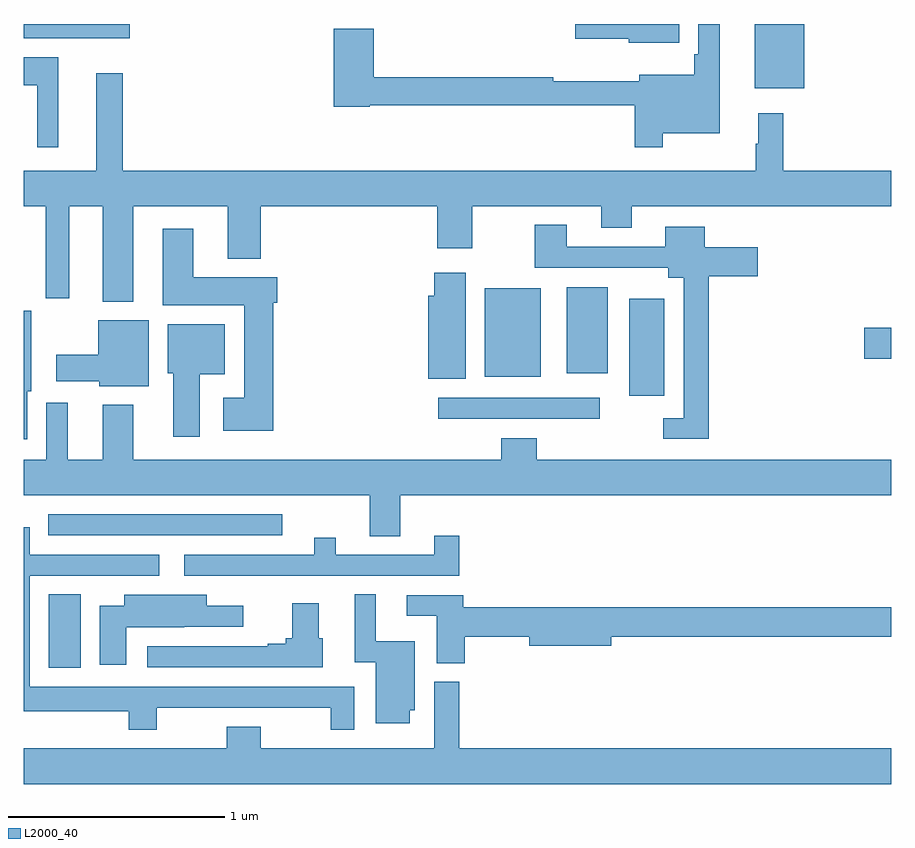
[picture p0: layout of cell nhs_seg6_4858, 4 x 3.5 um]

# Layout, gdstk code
import gdstk
lib = gdstk.Library(unit=1e-6, precision=1e-09)
def R(c, l, rs):  # rectangles x0, y0, x1, y1
    for r in rs: c.add(gdstk.rectangle(r[:2], r[2:], *l))
def P(c, l, *ps):  # polygons
    for p in ps: c.add(gdstk.Polygon(p, *l))
L2000_40 = (2000, 40)

nhs_seg6_4858 = lib.new_cell('nhs_seg6_4858')
R(nhs_seg6_4858, L2000_40, [(399.116,954.531,399.262,954.872), (399.113,955.143,400.192,955.239), (400.911,955.68,401.656,955.776), (401.792,955.785,401.953,956.233), (401.126,955.874,401.383,956.281), (401.504,955.889,401.692,956.287), (402.876,955.957,403,956.099), (402.371,957.203,402.598,957.5)])
P(nhs_seg6_4858, L2000_40, [(399.49,957.5),(399,957.5),(399,957.435),(399.249,957.435),(399.249,957.434),(399.49,957.434)],
  [(402.022,957.5),(401.544,957.5),(401.544,957.431),(401.79,957.431),(401.79,957.413),(402.022,957.413)],
  [(401.947,956.996),(402.208,956.996),(402.208,957.5),(402.111,957.5),(402.111,957.361),(402.091,957.361),(402.091,957.265),(401.837,957.265),(401.837,957.236),(401.441,957.236),(401.441,957.254),(400.613,957.254),(400.613,957.478),(400.43,957.478),(400.43,957.118),(400.596,957.118),(400.596,957.126),(401.818,957.126),(401.818,956.931),(401.947,956.931)],
  [(399.16,957.346),(399,957.346),(399,957.218),(399.062,957.218),(399.062,956.931),(399.16,956.931)],
  [(399.457,957.274),(399.335,957.274),(399.335,956.824),(399,956.824),(399,956.66),(399.101,956.66),(399.101,956.235),(399.211,956.235),(399.211,956.66),(399.365,956.66),(399.365,956.219),(399.505,956.219),(399.505,956.66),(399.941,956.66),(399.941,956.417),(400.094,956.417),(400.094,956.66),(400.907,956.66),(400.907,956.466),(401.067,956.466),(401.067,956.66),(401.663,956.66),(401.663,956.561),(401.803,956.561),(401.803,956.66),(403,956.66),(403,956.824),(402.503,956.824),(402.503,957.088),(402.386,957.088),(402.386,956.948),(402.375,956.948),(402.375,956.824),(399.457,956.824)],
  [(402.158,956.336),(402.385,956.336),(402.385,956.47),(402.139,956.47),(402.139,956.566),(401.957,956.566),(401.957,956.472),(401.503,956.472),(401.503,956.575),(401.356,956.575),(401.356,956.376),(401.972,956.376),(401.972,956.33),(402.042,956.33),(402.042,955.683),(401.949,955.683),(401.949,955.587),(402.158,955.587)],
  [(400.151,956.214),(400.169,956.214),(400.169,956.332),(399.781,956.332),(399.781,956.557),(399.641,956.557),(399.641,956.204),(400.016,956.204),(400.016,955.777),(399.921,955.777),(399.921,955.625),(400.151,955.625)],
  [(401.038,956.353),(400.892,956.353),(400.892,956.248),(400.865,956.248),(400.865,955.865),(401.038,955.865)],
  [(399.016,955.806),(399.034,955.806),(399.034,956.178),(399,956.178),(399,955.586),(399.016,955.586)],
  [(399.577,956.134),(399.344,956.134),(399.344,955.975),(399.15,955.975),(399.15,955.853),(399.348,955.853),(399.348,955.829),(399.577,955.829)],
  [(399.811,955.886),(399.928,955.886),(399.928,956.116),(399.665,956.116),(399.665,955.89),(399.689,955.89),(399.689,955.596),(399.811,955.596)],
  [(400.735,955.328),(403,955.328),(403,955.492),(401.366,955.492),(401.366,955.591),(401.201,955.591),(401.201,955.492),(399.505,955.492),(399.505,955.744),(399.365,955.744),(399.365,955.492),(399.202,955.492),(399.202,955.753),(399.105,955.753),(399.105,955.492),(399,955.492),(399,955.328),(400.595,955.328),(400.595,955.138),(400.735,955.138)],
  [(399.613,954.347),(399.848,954.347),(399.848,954.348),(400.18,954.348),(400.18,954.347),(400.416,954.347),(400.416,954.245),(400.524,954.245),(400.524,954.444),(399.468,954.444),(399.468,954.445),(399.028,954.445),(399.028,954.957),(399.625,954.957),(399.625,955.053),(399.028,955.053),(399.028,955.18),(399,955.18),(399,954.332),(399.484,954.332),(399.484,954.245),(399.613,954.245)],
  [(401.009,955.141),(400.892,955.141),(400.892,955.053),(400.438,955.053),(400.438,955.132),(400.34,955.132),(400.34,955.053),(399.741,955.053),(399.741,954.957),(401.009,954.957)],
  [(400.78,954.336),(400.804,954.336),(400.804,954.654),(400.624,954.654),(400.624,954.872),(400.526,954.872),(400.526,954.558),(400.622,954.558),(400.622,954.276),(400.78,954.276)],
  [(399.472,954.719),(399.74,954.719),(399.74,954.72),(400.012,954.72),(400.012,954.817),(399.844,954.817),(399.844,954.868),(399.464,954.868),(399.464,954.817),(399.35,954.817),(399.35,954.546),(399.472,954.546)],
  [(401.034,954.676),(401.33,954.676),(401.33,954.634),(401.71,954.634),(401.71,954.676),(403,954.676),(403,954.812),(401.026,954.812),(401.026,954.867),(400.767,954.867),(400.767,954.771),(400.904,954.771),(400.904,954.553),(401.034,954.553)],
  [(400.378,954.669),(400.36,954.669),(400.36,954.829),(400.238,954.829),(400.238,954.669),(400.208,954.669),(400.208,954.643),(400.124,954.643),(400.124,954.63),(399.57,954.63),(399.57,954.534),(400.378,954.534)],
  [(403,954.16),(401.009,954.16),(401.009,954.468),(400.893,954.468),(400.893,954.16),(400.092,954.16),(400.092,954.259),(399.937,954.259),(399.937,954.16),(399,954.16),(399,953.996),(403,953.996)])

lib.write_gds('nhs_seg6_4858.gds')
